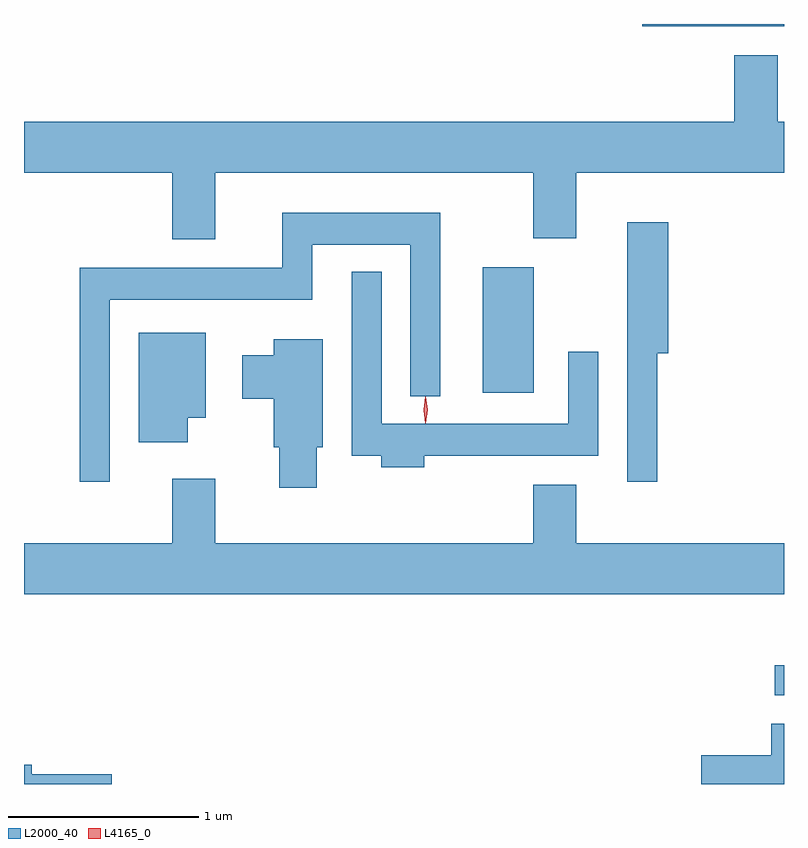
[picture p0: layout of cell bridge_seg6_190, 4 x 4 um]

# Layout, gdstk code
import gdstk
lib = gdstk.Library(unit=1e-6, precision=1e-09)
def R(c, l, rs):  # rectangles x0, y0, x1, y1
    for r in rs: c.add(gdstk.rectangle(r[:2], r[2:], *l))
def P(c, l, *ps):  # polygons
    for p in ps: c.add(gdstk.Polygon(p, *l))
L2000_40 = (2000, 40)
L4165_0 = (4165, 0)

bridge_seg6_190 = lib.new_cell('bridge_seg6_190')
R(bridge_seg6_190, L2000_40, [(1048.183,1596.126,1048.232,1596.284), (1046.646,1597.716,1046.914,1598.379), (1047.486,1599.646,1048.232,1599.658)])
P(bridge_seg6_190, L2000_40, [(1045.239,1598.876),(1046.911,1598.876),(1046.911,1598.531),(1047.139,1598.531),(1047.139,1598.876),(1048.232,1598.876),(1048.232,1599.144),(1048.199,1599.144),(1048.199,1599.494),(1047.971,1599.494),(1047.971,1599.144),(1044.232,1599.144),(1044.232,1598.876),(1045.011,1598.876),(1045.011,1598.526),(1045.239,1598.526)],
  [(1044.684,1598.206),(1045.749,1598.206),(1045.749,1598.496),(1046.266,1598.496),(1046.266,1597.698),(1046.424,1597.698),(1046.424,1598.664),(1045.591,1598.664),(1045.591,1598.374),(1044.526,1598.374),(1044.526,1597.248),(1044.684,1597.248)],
  [(1047.564,1597.926),(1047.624,1597.926),(1047.624,1598.614),(1047.406,1598.614),(1047.406,1597.248),(1047.564,1597.248)],
  [(1046.339,1597.386),(1047.254,1597.386),(1047.254,1597.933),(1047.096,1597.933),(1047.096,1597.554),(1046.114,1597.554),(1046.114,1598.353),(1045.956,1598.353),(1045.956,1597.386),(1046.111,1597.386),(1046.111,1597.326),(1046.339,1597.326)],
  [(1045.094,1597.586),(1045.189,1597.586),(1045.189,1598.034),(1044.836,1598.034),(1044.836,1597.456),(1045.094,1597.456)],
  [(1045.774,1597.431),(1045.804,1597.431),(1045.804,1597.999),(1045.546,1597.999),(1045.546,1597.914),(1045.381,1597.914),(1045.381,1597.686),(1045.546,1597.686),(1045.546,1597.431),(1045.576,1597.431),(1045.576,1597.216),(1045.774,1597.216)],
  [(1048.232,1596.924),(1047.139,1596.924),(1047.139,1597.234),(1046.911,1597.234),(1046.911,1596.924),(1045.239,1596.924),(1045.239,1597.264),(1045.011,1597.264),(1045.011,1596.924),(1044.232,1596.924),(1044.232,1596.656),(1048.232,1596.656)],
  [(1048.232,1595.974),(1048.166,1595.974),(1048.166,1595.809),(1047.796,1595.809),(1047.796,1595.658),(1048.232,1595.658)],
  [(1044.694,1595.709),(1044.274,1595.709),(1044.274,1595.759),(1044.232,1595.759),(1044.232,1595.658),(1044.694,1595.658)])
P(bridge_seg6_190, L4165_0, [(1046.345,1597.559),(1046.345,1597.56),(1046.335,1597.626),(1046.345,1597.692),(1046.345,1597.693),(1046.346,1597.692),(1046.355,1597.626),(1046.346,1597.56)],
  [(1046.346,1597.557),(1046.345,1597.558),(1046.335,1597.627),(1046.345,1597.696),(1046.346,1597.696),(1046.346,1597.696),(1046.356,1597.627),(1046.346,1597.558)])

lib.write_gds('bridge_seg6_190.gds')
